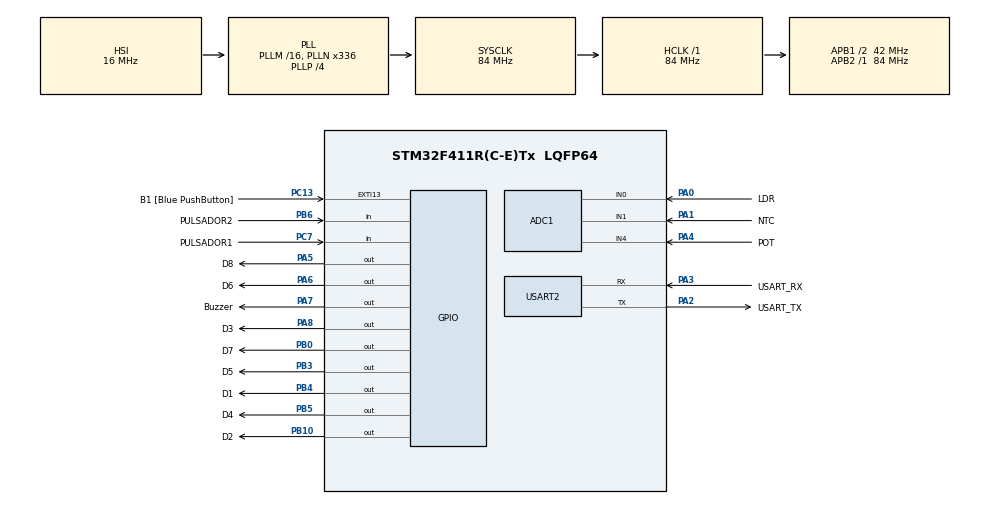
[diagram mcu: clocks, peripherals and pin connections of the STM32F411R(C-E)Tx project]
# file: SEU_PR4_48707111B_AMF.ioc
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ADC1.Channel-1\#ChannelRegularConversion=ADC_CHANNEL_1
ADC1.NbrOfConversionFlag=1
ADC1.Rank-1\#ChannelRegularConversion=1
ADC1.SamplingTime-1\#ChannelRegularConversion=ADC_SAMPLETIME_3CYCLES
ADC1.master=1
Mcu.Family=STM32F4
Mcu.Name=STM32F411R(C-E)Tx
Mcu.Package=LQFP64
NVIC.PriorityGroup=NVIC_PRIORITYGROUP_0
PA0-WKUP.GPIO_Label=LDR
PA0-WKUP.Signal=ADCx_IN0
PA1.GPIO_Label=NTC
PA1.Signal=ADCx_IN1
PA13.GPIO_Label=TMS
PA13.Mode=Serial_Wire
PA13.Signal=SYS_JTMS-SWDIO
PA14.GPIO_Label=TCK
PA14.Mode=Serial_Wire
PA14.Signal=SYS_JTCK-SWCLK
PA2.GPIO_Label=USART_TX
PA2.Mode=Asynchronous
PA2.Signal=USART2_TX
PA3.GPIO_Label=USART_RX
PA3.Mode=Asynchronous
PA3.Signal=USART2_RX
PA4.GPIO_Label=POT
PA4.Signal=ADCx_IN4
PA5.GPIO_Label=D8
PA5.Signal=GPIO_Output
PA6.GPIO_Label=D6
PA6.GPIO_Speed=GPIO_SPEED_FREQ_LOW
PA6.PinState=GPIO_PIN_RESET
PA6.Signal=GPIO_Output
PA7.GPIO_Label=Buzzer
PA7.Signal=GPIO_Output
PA8.GPIO_Label=D3
PA8.Signal=GPIO_Output
PB0.GPIO_Label=D7
PB0.PinState=GPIO_PIN_RESET
PB0.Signal=GPIO_Output
PB10.GPIO_Label=D2
PB10.Signal=GPIO_Output
PB3.GPIO_Label=D5
PB3.Signal=GPIO_Output
PB4.GPIO_Label=D1
PB4.Signal=GPIO_Output
PB5.GPIO_Label=D4
PB5.Signal=GPIO_Output
PB6.GPIO_Label=PULSADOR2
PB6.GPIO_PuPd=GPIO_PULLUP
PB6.Signal=GPIO_Input
PC13-ANTI_TAMP.GPIO_Label=B1 [Blue PushButton]
PC13-ANTI_TAMP.GPIO_ModeDefaultEXTI=GPIO_MODE_IT_FALLING
PC13-ANTI_TAMP.Signal=GPXTI13
PC14-OSC32_IN.Mode=LSE-External-Oscillator
PC14-OSC32_IN.Signal=RCC_OSC32_IN
PC15-OSC32_OUT.Mode=LSE-External-Oscillator
PC15-OSC32_OUT.Signal=RCC_OSC32_OUT
PC7.GPIO_Label=PULSADOR1
PC7.GPIO_PuPd=GPIO_PULLUP
PC7.Signal=GPIO_Input
PH0\ -\ OSC_IN.Mode=HSE-External-Clock-Source
PH0\ -\ OSC_IN.Signal=RCC_OSC_IN
PH1\ -\ OSC_OUT.Mode=HSE-External-Clock-Source
PH1\ -\ OSC_OUT.Signal=RCC_OSC_OUT
ProjectManager.HeapSize=0x200
ProjectManager.StackSize=0x400
ProjectManager.TargetToolchain=STM32CubeIDE
RCC.48MHZClocksFreq_Value=84000000
RCC.AHBFreq_Value=84000000
RCC.APB1CLKDivider=RCC_HCLK_DIV2
RCC.APB1Freq_Value=42000000
RCC.APB1TimFreq_Value=84000000
RCC.APB2Freq_Value=84000000
RCC.APB2TimFreq_Value=84000000
RCC.CortexFreq_Value=84000000
RCC.FLatency-AdvancedSettings=FLASH_LATENCY_2
RCC.HCLKFreq_Value=84000000
RCC.HSE_VALUE=8000000
RCC.HSI_VALUE=16000000
RCC.PLLN=336
RCC.PLLP=RCC_PLLP_DIV4
RCC.SYSCLKFreq_VALUE=84000000
RCC.SYSCLKSource=RCC_SYSCLKSOURCE_PLLCLK
RCC.VCOOutputFreq_Value=336000000
SH.ADCx_IN0.0=ADC1_IN0,IN0
SH.ADCx_IN1.0=ADC1_IN1,IN1
SH.ADCx_IN4.0=ADC1_IN4,IN4
USART2.VirtualMode=VM_ASYNC
board=NUCLEO-F411RE

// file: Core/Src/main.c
/* USER CODE BEGIN Header */
/**
  ******************************************************************************
  * @file           : main.c
  * @brief          : Main program body
  ******************************************************************************
  * @attention
  *
  * Copyright (c) 2022 STMicroelectronics.
  * All rights reserved.
  *
  * This software is licensed under terms that can be found in the LICENSE file
  * in the root directory of this software component.
  * If no LICENSE file comes with this software, it is provided AS-IS.
  *
  ******************************************************************************
  */
/* USER CODE END Header */
#include "main.h"

ADC_HandleTypeDef hadc1;

UART_HandleTypeDef huart2;

/* USER CODE BEGIN PV */

	int R25 = 10000;
	int BETA = 3900;
	int TK25 = 298;
	int TC25 = 25;

	int pulsador = 0;
	int estado_anterior = 1;

	int nivel_alarma = 99;
	int alarma_state = 0;
	int cooldown = 0;

	unsigned int contador = 0;
	unsigned int prev_contador = 0;
	int ledState = 0;

	unsigned int contador_alarma = 0;
	unsigned int prevContador_alarma = 0;

/* USER CODE END PV */

void SystemClock_Config(void);
static void MX_GPIO_Init(void);
static void MX_USART2_UART_Init(void);
static void MX_ADC1_Init(void);

/* USER CODE BEGIN 0 */

int readPOT(void) {

	ADC_ChannelConfTypeDef sConfig = {0};
	sConfig.Channel = ADC_CHANNEL_4;
	sConfig.Rank = 1;
	sConfig.SamplingTime = ADC_SAMPLETIME_3CYCLES;

	HAL_ADC_ConfigChannel(&hadc1, &sConfig);
	HAL_ADC_Start(&hadc1);
	HAL_ADC_PollForConversion(&hadc1, 1000);
	int potencia = (int)HAL_ADC_GetValue(&hadc1);
	HAL_ADC_Stop(&hadc1);
	return (int) ((potencia*100)/4096);
}

int readLUZ(void) {

	ADC_ChannelConfTypeDef sConfig = {0};
	sConfig.Channel = ADC_CHANNEL_0;
	sConfig.Rank = 1;
	sConfig.SamplingTime = ADC_SAMPLETIME_3CYCLES;

	HAL_ADC_ConfigChannel(&hadc1, &sConfig);
	HAL_ADC_Start(&hadc1);
	HAL_ADC_PollForConversion(&hadc1, 1000);
	int luz = (int)HAL_ADC_GetValue(&hadc1);
	luz = (luz * -1) + 4095; // invertimos el valor del sensor
	luz = luz - 2048;
	HAL_ADC_Stop(&hadc1);
	return (int) ((luz*100)/2048);
}

int readTEMP(void) {

	ADC_ChannelConfTypeDef sConfig = {0};
	sConfig.Channel = ADC_CHANNEL_1;
	sConfig.Rank = 1;
	sConfig.SamplingTime = ADC_SAMPLETIME_3CYCLES;

	HAL_ADC_ConfigChannel(&hadc1, &sConfig);
	HAL_ADC_Start(&hadc1);
	HAL_ADC_PollForConversion(&hadc1, 1000);
	int valueAD = (int)HAL_ADC_GetValue(&hadc1);
	float TNTC = BETA/(log((-10000.0*3.3/(valueAD*3.3/4095.9-3.3)-10000.0)/R25)+BETA/TK25)-273.18;
	float temp = TNTC - TC25;
	HAL_ADC_Stop(&hadc1);
	return (int) ((temp*100)/15);
}

void setLeds(int porcentaje) {
	if (porcentaje <= 0) {
		HAL_GPIO_WritePin(D1_GPIO_Port, D1_Pin, 1);
		HAL_GPIO_WritePin(D2_GPIO_Port, D2_Pin, 0);
		HAL_GPIO_WritePin(D3_GPIO_Port, D3_Pin, 0);
		HAL_GPIO_WritePin(D4_GPIO_Port, D4_Pin, 0);
		HAL_GPIO_WritePin(D5_GPIO_Port, D5_Pin, 0);
		HAL_GPIO_WritePin(D6_GPIO_Port, D6_Pin, 0);
		HAL_GPIO_WritePin(D7_GPIO_Port, D7_Pin, 0);
		HAL_GPIO_WritePin(D8_GPIO_Port, D8_Pin, 0);
	} else if (porcentaje <= 13) {
		HAL_GPIO_WritePin(D1_GPIO_Port, D1_Pin, 1);
		HAL_GPIO_WritePin(D2_GPIO_Port, D2_Pin, 1);
		HAL_GPIO_WritePin(D3_GPIO_Port, D3_Pin, 0);
		HAL_GPIO_WritePin(D4_GPIO_Port, D4_Pin, 0);
		HAL_GPIO_WritePin(D5_GPIO_Port, D5_Pin, 0);
		HAL_GPIO_WritePin(D6_GPIO_Port, D6_Pin, 0);
		HAL_GPIO_WritePin(D7_GPIO_Port, D7_Pin, 0);
		HAL_GPIO_WritePin(D8_GPIO_Port, D8_Pin, 0);
	} else if (porcentaje <= 25) {
		HAL_GPIO_WritePin(D1_GPIO_Port, D1_Pin, 1);
		HAL_GPIO_WritePin(D2_GPIO_Port, D2_Pin, 1);
		HAL_GPIO_WritePin(D3_GPIO_Port, D3_Pin, 1);
		HAL_GPIO_WritePin(D4_GPIO_Port, D4_Pin, 0);
		HAL_GPIO_WritePin(D5_GPIO_Port, D5_Pin, 0);
		HAL_GPIO_WritePin(D6_GPIO_Port, D6_Pin, 0);
		HAL_GPIO_WritePin(D7_GPIO_Port, D7_Pin, 0);
		HAL_GPIO_WritePin(D8_GPIO_Port, D8_Pin, 0);
	} else if (porcentaje <= 38) {
		HAL_GPIO_WritePin(D1_GPIO_Port, D1_Pin, 1);
		HAL_GPIO_WritePin(D2_GPIO_Port, D2_Pin, 1);
		HAL_GPIO_WritePin(D3_GPIO_Port, D3_Pin, 1);
		HAL_GPIO_WritePin(D4_GPIO_Port, D4_Pin, 1);
		HAL_GPIO_WritePin(D5_GPIO_Port, D5_Pin, 0);
		HAL_GPIO_WritePin(D6_GPIO_Port, D6_Pin, 0);
		HAL_GPIO_WritePin(D7_GPIO_Port, D7_Pin, 0);
		HAL_GPIO_WritePin(D8_GPIO_Port, D8_Pin, 0);
	} else if (porcentaje <= 50) {
		HAL_GPIO_WritePin(D1_GPIO_Port, D1_Pin, 1);
		HAL_GPIO_WritePin(D2_GPIO_Port, D2_Pin, 1);
		HAL_GPIO_WritePin(D3_GPIO_Port, D3_Pin, 1);
		HAL_GPIO_WritePin(D4_GPIO_Port, D4_Pin, 1);
		HAL_GPIO_WritePin(D5_GPIO_Port, D5_Pin, 1);
		HAL_GPIO_WritePin(D6_GPIO_Port, D6_Pin, 0);
		HAL_GPIO_WritePin(D7_GPIO_Port, D7_Pin, 0);
		HAL_GPIO_WritePin(D8_GPIO_Port, D8_Pin, 0);
	} else if (porcentaje <= 63) {
		HAL_GPIO_WritePin(D1_GPIO_Port, D1_Pin, 1);
		HAL_GPIO_WritePin(D2_GPIO_Port, D2_Pin, 1);
		HAL_GPIO_WritePin(D3_GPIO_Port, D3_Pin, 1);
		HAL_GPIO_WritePin(D4_GPIO_Port, D4_Pin, 1);
		HAL_GPIO_WritePin(D5_GPIO_Port, D5_Pin, 1);
		HAL_GPIO_WritePin(D6_GPIO_Port, D6_Pin, 1);
		HAL_GPIO_WritePin(D7_GPIO_Port, D7_Pin, 0);
		HAL_GPIO_WritePin(D8_GPIO_Port, D8_Pin, 0);
	} else if (porcentaje <= 85) {
		HAL_GPIO_WritePin(D1_GPIO_Port, D1_Pin, 1);
		HAL_GPIO_WritePin(D2_GPIO_Port, D2_Pin, 1);
		HAL_GPIO_WritePin(D3_GPIO_Port, D3_Pin, 1);
		HAL_GPIO_WritePin(D4_GPIO_Port, D4_Pin, 1);
		HAL_GPIO_WritePin(D5_GPIO_Port, D5_Pin, 1);
		HAL_GPIO_WritePin(D6_GPIO_Port, D6_Pin, 1);
		HAL_GPIO_WritePin(D7_GPIO_Port, D7_Pin, 1);
		HAL_GPIO_WritePin(D8_GPIO_Port, D8_Pin, 0);
	} else if (porcentaje <= 99) {
		HAL_GPIO_WritePin(D1_GPIO_Port, D1_Pin, 1);
		HAL_GPIO_WritePin(D2_GPIO_Port, D2_Pin, 1);
		HAL_GPIO_WritePin(D3_GPIO_Port, D3_Pin, 1);
		HAL_GPIO_WritePin(D4_GPIO_Port, D4_Pin, 1);
		HAL_GPIO_WritePin(D5_GPIO_Port, D5_Pin, 1);
		HAL_GPIO_WritePin(D6_GPIO_Port, D6_Pin, 1);
		HAL_GPIO_WritePin(D7_GPIO_Port, D7_Pin, 1);
		HAL_GPIO_WritePin(D8_GPIO_Port, D8_Pin, 1);
	}
}

void setAlarm(int porcentaje) {

	if (contador - prev_contador >= 1500) {

		ledState = !ledState;
		prev_contador = contador;
	}

	if (porcentaje <= 0) {
		HAL_GPIO_WritePin(D1_GPIO_Port, D1_Pin, ledState);
	} else if (porcentaje <= 13 && porcentaje > 0) {
		HAL_GPIO_WritePin(D2_GPIO_Port, D2_Pin, ledState);
	} else if (porcentaje <= 25 && porcentaje > 13) {
		HAL_GPIO_WritePin(D3_GPIO_Port, D3_Pin, ledState);
	} else if (porcentaje <= 38 && porcentaje > 25) {
		HAL_GPIO_WritePin(D4_GPIO_Port, D4_Pin, ledState);
	} else if (porcentaje <= 50 && porcentaje > 38) {
		HAL_GPIO_WritePin(D5_GPIO_Port, D5_Pin, ledState);
	} else if (porcentaje <= 63 && porcentaje > 50) {
		HAL_GPIO_WritePin(D6_GPIO_Port, D6_Pin, ledState);
	} else if (porcentaje <= 85 && porcentaje > 63) {
		HAL_GPIO_WritePin(D7_GPIO_Port, D7_Pin, ledState);
	} else if (porcentaje <= 99 && porcentaje > 85) {
		HAL_GPIO_WritePin(D8_GPIO_Port, D8_Pin, ledState);
	}

	contador++;
}

void fireAlarm(int alarma_state) {

	// Primera vez
	if (alarma_state == 1 && cooldown == 0) { HAL_GPIO_WritePin(Buzzer_GPIO_Port, Buzzer_Pin, 1); }

	// Resto de veces
	if (contador_alarma - prevContador_alarma >= 100000 && alarma_state == 1) {

		prevContador_alarma = contador_alarma;
		HAL_GPIO_WritePin(Buzzer_GPIO_Port, Buzzer_Pin, 1);
		cooldown = 0;
	}

	if (HAL_GPIO_ReadPin(PULSADOR2_GPIO_Port, PULSADOR2_Pin) == 0) {
		HAL_GPIO_WritePin(Buzzer_GPIO_Port, Buzzer_Pin, 0);
		alarma_state = 0;
		cooldown = 1;
	}

	if (cooldown == 1) { contador_alarma++; }
}

/* USER CODE END 0 */

int main(void)
{

  /* MCU Configuration--------------------------------------------------------*/

  /* Reset of all peripherals, Initializes the Flash interface and the Systick. */
   HAL_Init();

  /* Configure the system clock */
  SystemClock_Config();

  /* Initialize all configured peripherals */
  MX_GPIO_Init();
  MX_USART2_UART_Init();
  MX_ADC1_Init();

  /* Infinite loop */
  while (1)
  {
	  int nivel_alarma = readPOT();
	  int porcentaje_temp = readTEMP();
	  int porcentaje_luz = readLUZ();

	  int estado = (int)HAL_GPIO_ReadPin(PULSADOR1_GPIO_Port, PULSADOR1_Pin);
	  if (estado != estado_anterior && estado == 0) { pulsador++; }
	  estado_anterior = estado;

	  if (pulsador%2 == 0) {

		  setLeds(porcentaje_luz);

		  if (porcentaje_luz > nivel_alarma ) {
			  alarma_state = 1;
		  } else {
			  alarma_state = 0;
		  }

	  } else if (pulsador%2 == 1) {

		  setLeds(porcentaje_temp);

		  if (porcentaje_temp > nivel_alarma ) {
			  alarma_state = 1;
		  } else {
			  alarma_state = 0;
		  }
	  }

	  setAlarm(nivel_alarma);
	  fireAlarm(alarma_state);

  }
}

void SystemClock_Config(void)
{
  RCC_OscInitTypeDef RCC_OscInitStruct = {0};
  RCC_ClkInitTypeDef RCC_ClkInitStruct = {0};

  /** Configure the main internal regulator output voltage
  */
  __HAL_RCC_PWR_CLK_ENABLE();
  __HAL_PWR_VOLTAGESCALING_CONFIG(PWR_REGULATOR_VOLTAGE_SCALE1);
  /** Initializes the RCC Oscillators according to the specified parameters
  * in the RCC_OscInitTypeDef structure.
  */
  RCC_OscInitStruct.OscillatorType = RCC_OSCILLATORTYPE_HSI;
  RCC_OscInitStruct.HSIState = RCC_HSI_ON;
  RCC_OscInitStruct.HSICalibrationValue = RCC_HSICALIBRATION_DEFAULT;
  RCC_OscInitStruct.PLL.PLLState = RCC_PLL_ON;
  RCC_OscInitStruct.PLL.PLLSource = RCC_PLLSOURCE_HSI;
  RCC_OscInitStruct.PLL.PLLM = 16;
  RCC_OscInitStruct.PLL.PLLN = 336;
  RCC_OscInitStruct.PLL.PLLP = RCC_PLLP_DIV4;
  RCC_OscInitStruct.PLL.PLLQ = 4;
  if (HAL_RCC_OscConfig(&RCC_OscInitStruct) != HAL_OK)
  {
    Error_Handler();
  }
  /** Initializes the CPU, AHB and APB buses clocks
  */
  RCC_ClkInitStruct.ClockType = RCC_CLOCKTYPE_HCLK|RCC_CLOCKTYPE_SYSCLK
                              |RCC_CLOCKTYPE_PCLK1|RCC_CLOCKTYPE_PCLK2;
  RCC_ClkInitStruct.SYSCLKSource = RCC_SYSCLKSOURCE_PLLCLK;
  RCC_ClkInitStruct.AHBCLKDivider = RCC_SYSCLK_DIV1;
  RCC_ClkInitStruct.APB1CLKDivider = RCC_HCLK_DIV2;
  RCC_ClkInitStruct.APB2CLKDivider = RCC_HCLK_DIV1;

  if (HAL_RCC_ClockConfig(&RCC_ClkInitStruct, FLASH_LATENCY_2) != HAL_OK)
  {
    Error_Handler();
  }
}

static void MX_ADC1_Init(void)
{

  ADC_ChannelConfTypeDef sConfig = {0};

  /** Configure the global features of the ADC (Clock, Resolution, Data Alignment and number of conversion)
  */
  hadc1.Instance = ADC1;
  hadc1.Init.ClockPrescaler = ADC_CLOCK_SYNC_PCLK_DIV4;
  hadc1.Init.Resolution = ADC_RESOLUTION_12B;
  hadc1.Init.ScanConvMode = DISABLE;
  hadc1.Init.ContinuousConvMode = DISABLE;
  hadc1.Init.DiscontinuousConvMode = DISABLE;
  hadc1.Init.ExternalTrigConvEdge = ADC_EXTERNALTRIGCONVEDGE_NONE;
  hadc1.Init.ExternalTrigConv = ADC_SOFTWARE_START;
  hadc1.Init.DataAlign = ADC_DATAALIGN_RIGHT;
  hadc1.Init.NbrOfConversion = 1;
  hadc1.Init.DMAContinuousRequests = DISABLE;
  hadc1.Init.EOCSelection = ADC_EOC_SINGLE_CONV;
  if (HAL_ADC_Init(&hadc1) != HAL_OK)
  {
    Error_Handler();
  }
  /** Configure for the selected ADC regular channel its corresponding rank in the sequencer and its sample time.
  */
  sConfig.Channel = ADC_CHANNEL_1;
  sConfig.Rank = 1;
  sConfig.SamplingTime = ADC_SAMPLETIME_3CYCLES;
  if (HAL_ADC_ConfigChannel(&hadc1, &sConfig) != HAL_OK)
  {
    Error_Handler();
  }

}

static void MX_USART2_UART_Init(void)
{

  huart2.Instance = USART2;
  huart2.Init.BaudRate = 115200;
  huart2.Init.WordLength = UART_WORDLENGTH_8B;
  huart2.Init.StopBits = UART_STOPBITS_1;
  huart2.Init.Parity = UART_PARITY_NONE;
  huart2.Init.Mode = UART_MODE_TX_RX;
  huart2.Init.HwFlowCtl = UART_HWCONTROL_NONE;
  huart2.Init.OverSampling = UART_OVERSAMPLING_16;
  if (HAL_UART_Init(&huart2) != HAL_OK)
  {
    Error_Handler();
  }

}

static void MX_GPIO_Init(void)
{
  GPIO_InitTypeDef GPIO_InitStruct = {0};

  /* GPIO Ports Clock Enable */
  __HAL_RCC_GPIOC_CLK_ENABLE();
  __HAL_RCC_GPIOH_CLK_ENABLE();
  __HAL_RCC_GPIOA_CLK_ENABLE();
  __HAL_RCC_GPIOB_CLK_ENABLE();

  /*Configure GPIO pin Output Level */
  HAL_GPIO_WritePin(GPIOA, D8_Pin|D6_Pin|Buzzer_Pin|D3_Pin, GPIO_PIN_RESET);

  /*Configure GPIO pin Output Level */
  HAL_GPIO_WritePin(GPIOB, D7_Pin|D2_Pin|D5_Pin|D1_Pin
                          |D4_Pin, GPIO_PIN_RESET);

  /*Configure GPIO pin : B1_Pin */
  GPIO_InitStruct.Pin = B1_Pin;
  GPIO_InitStruct.Mode = GPIO_MODE_IT_FALLING;
  GPIO_InitStruct.Pull = GPIO_NOPULL;
  HAL_GPIO_Init(B1_GPIO_Port, &GPIO_InitStruct);

  /*Configure GPIO pins : D8_Pin D6_Pin Buzzer_Pin D3_Pin */
  GPIO_InitStruct.Pin = D8_Pin|D6_Pin|Buzzer_Pin|D3_Pin;
  GPIO_InitStruct.Mode = GPIO_MODE_OUTPUT_PP;
  GPIO_InitStruct.Pull = GPIO_NOPULL;
  GPIO_InitStruct.Speed = GPIO_SPEED_FREQ_LOW;
  HAL_GPIO_Init(GPIOA, &GPIO_InitStruct);

  /*Configure GPIO pins : D7_Pin D2_Pin D5_Pin D1_Pin
                           D4_Pin */
  GPIO_InitStruct.Pin = D7_Pin|D2_Pin|D5_Pin|D1_Pin
                          |D4_Pin;
  GPIO_InitStruct.Mode = GPIO_MODE_OUTPUT_PP;
  GPIO_InitStruct.Pull = GPIO_NOPULL;
  GPIO_InitStruct.Speed = GPIO_SPEED_FREQ_LOW;
  HAL_GPIO_Init(GPIOB, &GPIO_InitStruct);

  /*Configure GPIO pin : PULSADOR1_Pin */
  GPIO_InitStruct.Pin = PULSADOR1_Pin;
  GPIO_InitStruct.Mode = GPIO_MODE_INPUT;
  GPIO_InitStruct.Pull = GPIO_PULLUP;
  HAL_GPIO_Init(PULSADOR1_GPIO_Port, &GPIO_InitStruct);

  /*Configure GPIO pin : PULSADOR2_Pin */
  GPIO_InitStruct.Pin = PULSADOR2_Pin;
  GPIO_InitStruct.Mode = GPIO_MODE_INPUT;
  GPIO_InitStruct.Pull = GPIO_PULLUP;
  HAL_GPIO_Init(PULSADOR2_GPIO_Port, &GPIO_InitStruct);

}

void Error_Handler(void)
{
  __disable_irq();
  while (1)
  {
  }
}
